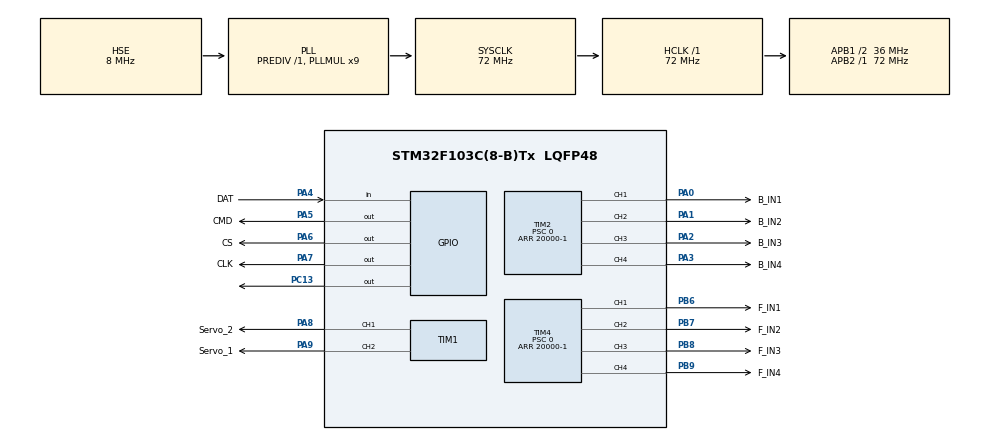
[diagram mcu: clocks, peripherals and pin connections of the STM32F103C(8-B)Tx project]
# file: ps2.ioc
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Mcu.Family=STM32F1
Mcu.Name=STM32F103C(8-B)Tx
Mcu.Package=LQFP48
NVIC.PriorityGroup=NVIC_PRIORITYGROUP_4
PA0-WKUP.GPIO_Label=B_IN1
PA0-WKUP.Signal=S_TIM2_CH1_ETR
PA1.GPIO_Label=B_IN2
PA1.Signal=S_TIM2_CH2
PA13.Mode=Serial_Wire
PA13.Signal=SYS_JTMS-SWDIO
PA14.Mode=Serial_Wire
PA14.Signal=SYS_JTCK-SWCLK
PA2.GPIO_Label=B_IN3
PA2.Signal=S_TIM2_CH3
PA3.GPIO_Label=B_IN4
PA3.Signal=S_TIM2_CH4
PA4.GPIO_Label=DAT
PA4.Signal=GPIO_Input
PA5.GPIO_Label=CMD
PA5.Signal=GPIO_Output
PA6.GPIO_Label=CS
PA6.Signal=GPIO_Output
PA7.GPIO_Label=CLK
PA7.Signal=GPIO_Output
PA8.GPIO_Label=Servo_2
PA8.Signal=S_TIM1_CH1
PA9.GPIO_Label=Servo_1
PA9.Signal=S_TIM1_CH2
PB6.GPIO_Label=F_IN1
PB6.Signal=S_TIM4_CH1
PB7.GPIO_Label=F_IN2
PB7.Signal=S_TIM4_CH2
PB8.GPIO_Label=F_IN3
PB8.Signal=S_TIM4_CH3
PB9.GPIO_Label=F_IN4
PB9.Signal=S_TIM4_CH4
PC13-TAMPER-RTC.Signal=GPIO_Output
PD0-OSC_IN.Mode=HSE-External-Oscillator
PD0-OSC_IN.Signal=RCC_OSC_IN
PD1-OSC_OUT.Mode=HSE-External-Oscillator
PD1-OSC_OUT.Signal=RCC_OSC_OUT
ProjectManager.HeapSize=0x200
ProjectManager.StackSize=0x400
ProjectManager.TargetToolchain=STM32CubeIDE
RCC.AHBFreq_Value=72000000
RCC.APB1CLKDivider=RCC_HCLK_DIV2
RCC.APB1Freq_Value=36000000
RCC.APB1TimFreq_Value=72000000
RCC.APB2Freq_Value=72000000
RCC.APB2TimFreq_Value=72000000
RCC.HCLKFreq_Value=72000000
RCC.PLLMUL=RCC_PLL_MUL9
RCC.PLLSourceVirtual=RCC_PLLSOURCE_HSE
RCC.SYSCLKFreq_VALUE=72000000
RCC.SYSCLKSource=RCC_SYSCLKSOURCE_PLLCLK
RCC.USBFreq_Value=72000000
SH.S_TIM1_CH1.0=TIM1_CH1,PWM Generation1 CH1
SH.S_TIM1_CH2.0=TIM1_CH2,PWM Generation2 CH2
SH.S_TIM2_CH1_ETR.0=TIM2_CH1,PWM Generation1 CH1
SH.S_TIM2_CH2.0=TIM2_CH2,PWM Generation2 CH2
SH.S_TIM2_CH3.0=TIM2_CH3,PWM Generation3 CH3
SH.S_TIM2_CH4.0=TIM2_CH4,PWM Generation4 CH4
SH.S_TIM4_CH1.0=TIM4_CH1,PWM Generation1 CH1
SH.S_TIM4_CH2.0=TIM4_CH2,PWM Generation2 CH2
SH.S_TIM4_CH3.0=TIM4_CH3,PWM Generation3 CH3
SH.S_TIM4_CH4.0=TIM4_CH4,PWM Generation4 CH4
TIM1.Channel-PWM\ Generation1\ CH1=TIM_CHANNEL_1
TIM1.Channel-PWM\ Generation2\ CH2=TIM_CHANNEL_2
TIM2.Channel-PWM\ Generation1\ CH1=TIM_CHANNEL_1
TIM2.Channel-PWM\ Generation2\ CH2=TIM_CHANNEL_2
TIM2.Channel-PWM\ Generation3\ CH3=TIM_CHANNEL_3
TIM2.Channel-PWM\ Generation4\ CH4=TIM_CHANNEL_4
TIM2.Period=20000-1
TIM2.Prescaler=0
TIM4.Channel-PWM\ Generation1\ CH1=TIM_CHANNEL_1
TIM4.Channel-PWM\ Generation2\ CH2=TIM_CHANNEL_2
TIM4.Channel-PWM\ Generation3\ CH3=TIM_CHANNEL_3
TIM4.Channel-PWM\ Generation4\ CH4=TIM_CHANNEL_4
TIM4.Period=20000-1
TIM4.Prescaler=0
board=custom

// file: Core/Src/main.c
/* USER CODE BEGIN Header */
/**
  ******************************************************************************
  * @file           : main.c
  * @brief          : Main program body
  ******************************************************************************
  * @attention
  *
  * Copyright (c) 2025 STMicroelectronics.
  * All rights reserved.
  *
  * This software is licensed under terms that can be found in the LICENSE file
  * in the root directory of this software component.
  * If no LICENSE file comes with this software, it is provided AS-IS.
  *
  ******************************************************************************
  */
/* USER CODE END Header */
#include "main.h"
#include "tim.h"
#include "gpio.h"

/* USER CODE BEGIN Includes */
#include "ax_ps2.hpp"
#include"motor_control.h"
/* USER CODE END Includes */

/* USER CODE BEGIN PD */
#define max_pulse 3600
#define full_dir 255
#define zore_fir 0
/* USER CODE END PD */

void SystemClock_Config(void);

/* USER CODE BEGIN 0 */
JOYSTICK_TypeDef ps2;
/* USER CODE END 0 */

int main(void)
{

  /* MCU Configuration--------------------------------------------------------*/

  /* Reset of all peripherals, Initializes the Flash interface and the Systick. */
  HAL_Init();

  /* USER CODE BEGIN Init */
  AX_PS2_Init();
  /* USER CODE END Init */

  /* Configure the system clock */
  SystemClock_Config();

  /* Initialize all configured peripherals */
  MX_GPIO_Init();
  MX_TIM4_Init();
  MX_TIM2_Init();
  MX_TIM1_Init();
  /* USER CODE BEGIN 2 */
  MotorControl_Init();
  int compare_init_1 = 0;
  int compare_init_2 = 2700;
  HAL_GPIO_WritePin(GPIOC, GPIO_PIN_13, GPIO_PIN_RESET);
  /* USER CODE END 2 */

  /* Infinite loop */
  /* USER CODE BEGIN WHILE */
  while (1)
  {
	  AX_PS2_ScanKey(&ps2);

	         // 获取移动方向
	         int index = GetMoveDirection(&ps2);

	         // 根据方向控制电机
	         if(index == -1)
	         {
	             StopAllMotors();
	         }
	         else
	         {
	             SetMotorSpeed(index, compare_init_2, compare_init_1);
	         }

	 HAL_Delay(10);
    /* USER CODE END WHILE */

  }
}

void SystemClock_Config(void)
{
  RCC_OscInitTypeDef RCC_OscInitStruct = {0};
  RCC_ClkInitTypeDef RCC_ClkInitStruct = {0};

  /** Initializes the RCC Oscillators according to the specified parameters
  * in the RCC_OscInitTypeDef structure.
  */
  RCC_OscInitStruct.OscillatorType = RCC_OSCILLATORTYPE_HSE;
  RCC_OscInitStruct.HSEState = RCC_HSE_ON;
  RCC_OscInitStruct.HSEPredivValue = RCC_HSE_PREDIV_DIV1;
  RCC_OscInitStruct.HSIState = RCC_HSI_ON;
  RCC_OscInitStruct.PLL.PLLState = RCC_PLL_ON;
  RCC_OscInitStruct.PLL.PLLSource = RCC_PLLSOURCE_HSE;
  RCC_OscInitStruct.PLL.PLLMUL = RCC_PLL_MUL9;
  if (HAL_RCC_OscConfig(&RCC_OscInitStruct) != HAL_OK)
  {
    Error_Handler();
  }

  /** Initializes the CPU, AHB and APB buses clocks
  */
  RCC_ClkInitStruct.ClockType = RCC_CLOCKTYPE_HCLK|RCC_CLOCKTYPE_SYSCLK
                              |RCC_CLOCKTYPE_PCLK1|RCC_CLOCKTYPE_PCLK2;
  RCC_ClkInitStruct.SYSCLKSource = RCC_SYSCLKSOURCE_PLLCLK;
  RCC_ClkInitStruct.AHBCLKDivider = RCC_SYSCLK_DIV1;
  RCC_ClkInitStruct.APB1CLKDivider = RCC_HCLK_DIV2;
  RCC_ClkInitStruct.APB2CLKDivider = RCC_HCLK_DIV1;

  if (HAL_RCC_ClockConfig(&RCC_ClkInitStruct, FLASH_LATENCY_2) != HAL_OK)
  {
    Error_Handler();
  }
}

void Error_Handler(void)
{
  __disable_irq();
  while (1)
  {
  }
}
